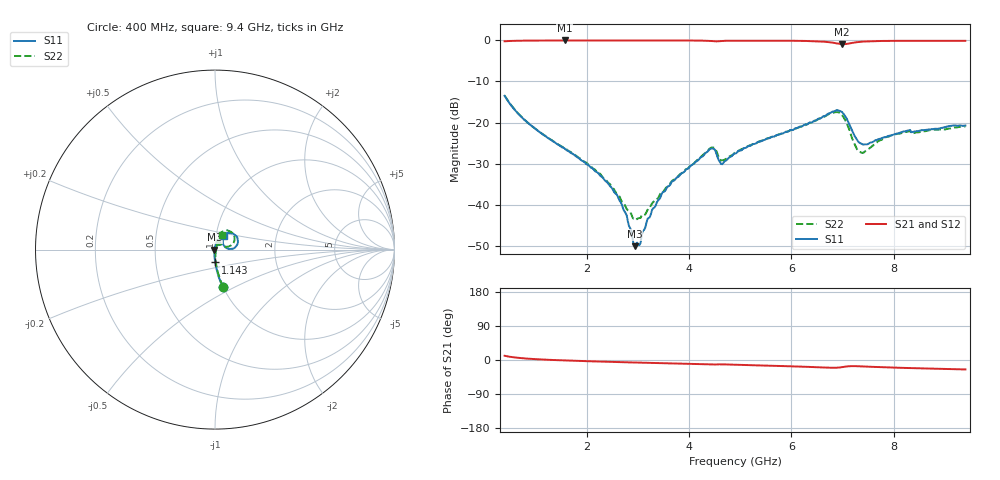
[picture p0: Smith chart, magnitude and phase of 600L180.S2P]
!  American Technical Ceramics  Date:  6/18/2004
!  One Norden Lane
!  Huntington Station,  NY.  11746-2102
!  Tel:  (631) 622-4700  Fax:  (631) 622-4748
!  Part Number  600L180  Mounting Orientation: Horizontal
!  Description: Ultra Low ESR Microwave capacitors
!  Application: Coupling, Bypass, Tuning, DC Block
!  Filters, Matching
# GHZ S DB R 50
! Freq  |S11|  S11 Ph  |S21|  S21 Ph  |S12|  S12 Ph  |S22|  S22 Ph
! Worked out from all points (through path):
!   401 points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, 400 MHz to 9.4 GHz, reference 50 ohm
!   highest |S21| = -0.01 dB at 1.57 GHz (marker M1); lowest = -0.9 dB at 6.993 GHz (marker M2)
!   group delay of S21, straight-line fit = 8.8 ps
!   lowest |S11| = -50.1 dB at 2.943 GHz (marker M3), VSWR 1.01, Z = 49.7 - j0.115 ohm
!   |S11| at or under -10 dB: start of sweep to end of sweep
!   |S22| runs from -43.7 to -13.4 dB; largest |S21 - S12| = 0.0089
!   S11 on the Smith chart (normalised r, x): 400 MHz: 1.00, -0.43; 1.143 GHz: 0.99, -0.14; 9.4 GHz: 1.09, +0.17
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0.4  -13.49 -78.3  -0.21 11.2  -0.20 11.2  -13.45 -77.7
1.143  -22.89 -88.9  -0.03 1.2  -0.02 1.2  -22.81 -86.3
1.57  -26.30 -92.2  -0.01 -1.1  0.00 -1.2  -26.27 -87.1
1.908  -29.30 -94.2  -0.01 -2.7  0.00 -2.7  -29.02 -86.4
2.583  -37.45 -103.0  -0.02 -5.3  0.00 -5.4  -37.32 -74.8
2.74  -41.62 -112.1  -0.02 -5.9  0.00 -5.9  -39.88 -61.1
2.943  -50.12 -158.2  -0.01 -6.6  0.00 -6.7  -43.51 -25.4
3.033  -49.86 146.6  -0.02 -6.9  0.00 -7.0  -43.25 -3.9
3.235  -43.09 101.7  -0.02 -7.7  -0.01 -7.7  -40.76 31.0
3.415  -38.76 93.7  -0.02 -8.2  -0.01 -8.3  -38.03 48.4
3.708  -34.15 85.4  -0.02 -9.3  -0.02 -9.4  -33.92 61.0
4.405  -26.54 65.8  -0.11 -12.0  -0.11 -12.1  -26.35 62.2
4.495  -26.47 51.4  -0.21 -12.0  -0.21 -12.1  -26.19 50.3
4.653  -30.15 59.1  -0.13 -11.5  -0.13 -11.6  -29.20 55.5
4.9  -27.54 69.4  -0.05 -12.6  -0.06 -12.6  -27.35 70.3
6.408  -19.94 57.6  -0.17 -18.6  -0.16 -18.1  -19.95 70.2
6.835  -17.27 37.1  -0.61 -20.6  -0.55 -20.4  -17.54 48.7
6.993  -17.48 17.0  -0.91 -18.7  -0.86 -18.8  -18.24 27.4
7.24  -23.39 6.1  -0.50 -16.2  -0.47 -16.3  -25.37 19.0
7.353  -25.05 19.1  -0.33 -16.7  -0.31 -16.8  -27.23 40.3
7.915  -23.22 50.6  -0.11 -19.7  -0.11 -19.7  -23.36 72.6
9.4  -20.73 56.2  -0.10 -24.9  -0.09 -24.8  -20.90 64.0
